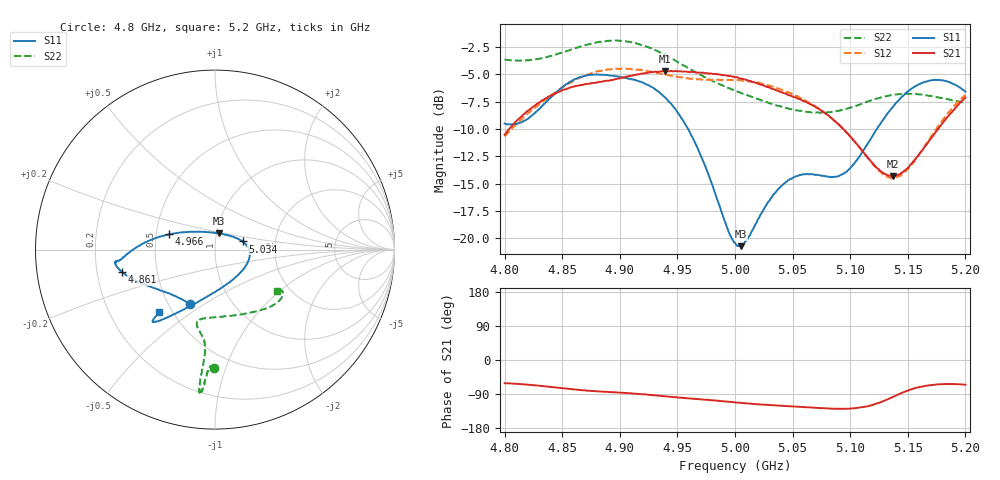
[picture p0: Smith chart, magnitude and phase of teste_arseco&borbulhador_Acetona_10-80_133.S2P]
! Network Analyzer HP8722D
! Hewlett-Packard
! Data name: Linha & Wilkinson
! Saver's name: Rodrigo Anjos
! Comments: Teste da utilização de aquisição
! continua pelo VNA HP8722D
! Time and date: 17/4/2025 15:28
!  Frequency  S11  S21  S12  S22
# HZ  S  MA R 50
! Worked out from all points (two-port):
!   401 points, 4.8 GHz to 5.2 GHz, reference 50 ohm
!   highest |S21| = -4.69 dB at 4.939 GHz (marker M1); lowest = -14.3 dB at 5.137 GHz (marker M2)
!   |S21| within 3 dB of the highest: 4.828 GHz to 5.065 GHz (236.4 MHz wide, 4.78 % of centre); 5.194503 GHz to end of sweep
!   lowest |S11| = -20.7 dB at 5.005 GHz (marker M3), VSWR 1.20, Z = 51.2 + j9.29 ohm
!   |S11| at or under -10 dB: 4.959 GHz to 5.123 GHz (163.8 MHz wide, 3.25 % of centre)
!   |S22| runs from -8.5 to -1.9 dB; largest |S21 - S12| = 0.87
!   S11 on the Smith chart (normalised r, x): 4.8 GHz: 0.64, -0.44; 4.861 GHz: 0.31, -0.11; 4.966 GHz: 0.59, +0.11; 5.034 GHz: 1.36, +0.13; 5.2 GHz: 0.42, -0.38
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4.8e9  0.3351 -114.6  0.2982 -61.3  0.2929 -175.5  0.6574 -90.5
4.819e9  0.3497 -134.6  0.3791 -64.9  0.3674 -174.5  0.6524 -92.2
4.861e9  0.5344 -166.5  0.4956 -77.9  0.5295 -177.7  0.7387 -94.6
4.867e9  0.5488 -168.9  0.5021 -79.5  0.5468 -178.9  0.7568 -94.5
4.899e9  0.5481 -173.3  0.5376 -86.0  0.596 174.6  0.8005 -96.1
4.934e9  0.4676 -179.2  0.5778 -94.4  0.5701 171.2  0.7118 -96.4
4.939e9  0.4425 178.8  0.5825 -95.6  0.5622 171.1  0.6913 -96.1
4.953e9  0.3585 171.1  0.5807 -99.3  0.5447 171.9  0.6287 -95.7
4.966e9  0.2695 161.6  0.574 -102.7  0.5343 173.1  0.5732 -95.6
5e9  0.09538 96.1  0.5454 -111.8  0.5302 175.5  0.4729 -99.7
5.005e9  0.09217 77.3  0.5377 -113.2  0.5285 175.6  0.4622 -100.8
5.034e9  0.16 16.5  0.4793 -119.9  0.4924 174.1  0.4087 -103.5
5.05e9  0.189 0.7  0.4454 -122.6  0.4543 173.2  0.3887 -99.2
5.067e9  0.1965 -17.4  0.4077 -125.6  0.4093 173.1  0.3767 -90.0
5.085e9  0.1912 -45.9  0.3502 -128.6  0.3501 173.4  0.3797 -76.2
5.097e9  0.2021 -70.0  0.304 -128.6  0.3048 174.6  0.3915 -66.4
5.123e9  0.3155 -109.5  0.2102 -115.0  0.2093 -169.6  0.4362 -48.5
5.134e9  0.3815 -118.2  0.1933 -101.6  0.1899 -154.6  0.4498 -43.0
5.137e9  0.3985 -119.9  0.1923 -97.4  0.189 -149.8  0.453 -41.8
5.149e9  0.4645 -125.3  0.2081 -81.8  0.2049 -131.7  0.4577 -37.3
5.17e9  0.5274 -130.1  0.2854 -66.1  0.2913 -112.3  0.4479 -32.4
5.2e9  0.4682 -131.6  0.4404 -65.1  0.4522 -107.3  0.4159 -33.9
